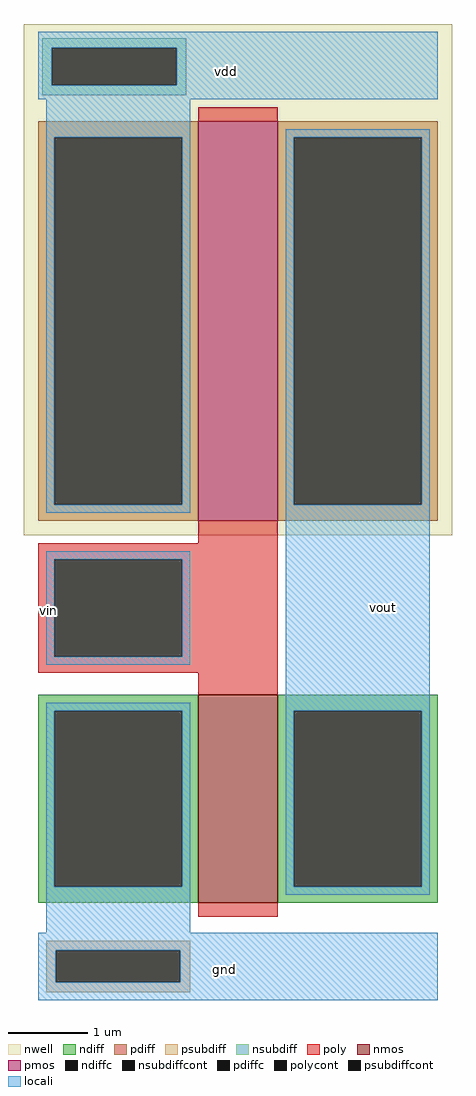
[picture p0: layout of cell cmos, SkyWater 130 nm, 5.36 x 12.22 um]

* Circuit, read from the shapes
.subckt cmos vdd gnd vout vin
XM1 vout vin gnd gnd sky130_fd_pr__nfet_01v8 w=2.6 l=1
XM2 vout vin vdd vdd sky130_fd_pr__pfet_01v8 w=5 l=1
.ends

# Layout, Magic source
magic
tech sky130A
<< nwell >>
rect 0 536 536 640
<< psubdiff >>
rect 28 -520 208 -508
rect 28 -560 40 -520
rect 196 -560 208 -520
rect 28 -572 208 -560
<< nsubdiff >>
rect 23 610 203 622
rect 23 563 35 610
rect 191 563 203 610
rect 23 551 203 563
<< psubdiffcont >>
rect 40 -560 196 -520
<< nsubdiffcont >>
rect 35 563 191 610
<< poly >>
rect 218 -10 318 0
rect 18 -30 318 -10
rect 18 -152 38 -30
rect 198 -152 318 -30
rect 18 -172 318 -152
rect 218 -182 318 -172
<< polycont >>
rect 38 -152 198 -30
<< locali >>
rect 18 610 518 630
rect 18 563 35 610
rect 191 563 518 610
rect 18 546 518 563
rect 28 508 208 546
rect 28 -30 208 -20
rect 28 -152 38 -30
rect 198 -152 208 -30
rect 28 -162 208 -152
rect 328 -210 508 28
rect 28 -498 208 -450
rect 18 -520 518 -498
rect 18 -560 40 -520
rect 196 -560 518 -520
rect 18 -582 518 -560
use nmos  nmos_0
transform 1 0 18 0 1 -200
box 0 -278 500 18
use pmos  pmos_0
transform 1 0 18 0 1 518
box -18 -518 518 18
<< labels >>
rlabel locali 254 581 254 581 1 vdd
port 1 n
rlabel locali 251 -544 251 -544 1 gnd
port 2 n
rlabel locali 450 -90 450 -90 1 vout
port 3 n
rlabel locali 31 -94 31 -94 1 vin
port 4 n
<< end >>

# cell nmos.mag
magic
tech sky130A
<< nmos >>
rect 200 -260 300 0
<< ndiff >>
rect 0 -20 200 0
rect 0 -240 20 -20
rect 180 -240 200 -20
rect 0 -260 200 -240
rect 300 -20 500 0
rect 300 -240 320 -20
rect 480 -240 500 -20
rect 300 -260 500 -240
<< ndiffc >>
rect 20 -240 180 -20
rect 320 -240 480 -20
<< poly >>
rect 200 0 300 18
rect 200 -278 300 -260
<< locali >>
rect 10 -20 190 -10
rect 10 -240 20 -20
rect 180 -240 190 -20
rect 10 -250 190 -240
rect 310 -20 490 -10
rect 310 -240 320 -20
rect 480 -240 490 -20
rect 310 -250 490 -240
<< end >>

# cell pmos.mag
magic
tech sky130A
<< nwell >>
rect -18 -518 518 18
<< pmos >>
rect 200 -500 300 0
<< pdiff >>
rect 0 -20 200 0
rect 0 -480 20 -20
rect 180 -480 200 -20
rect 0 -500 200 -480
rect 300 -20 500 0
rect 300 -480 320 -20
rect 480 -480 500 -20
rect 300 -500 500 -480
<< pdiffc >>
rect 20 -480 180 -20
rect 320 -480 480 -20
<< poly >>
rect 200 0 300 18
rect 200 -518 300 -500
<< locali >>
rect 10 -20 190 -10
rect 10 -480 20 -20
rect 180 -480 190 -20
rect 10 -490 190 -480
rect 310 -20 490 -10
rect 310 -480 320 -20
rect 480 -480 490 -20
rect 310 -490 490 -480
<< end >>
